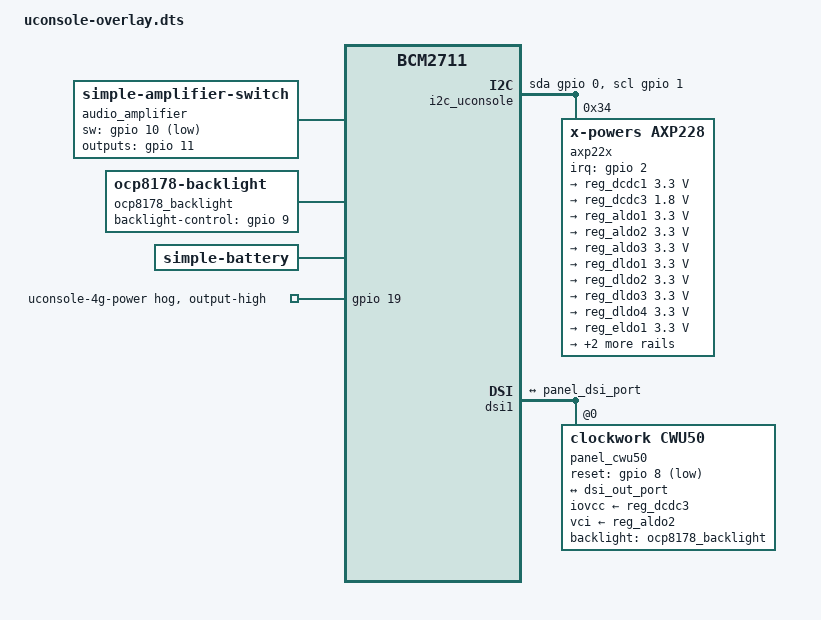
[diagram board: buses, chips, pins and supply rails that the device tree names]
/dts-v1/;
/plugin/;

#include <dt-bindings/gpio/gpio.h>

/* uConsole All In One */

/ {
	compatible = "brcm,bcm2711";

	fragment@70 {
		target-path = "/aliases";
		__overlay__ {
			i2c_uconsole = "/i2c@0";
		};
	};

	fragment@71 {
		target-path = "/__symbols__";
		__overlay__ {
			i2c_uconsole = "/i2c@0";
		};
	};

	fragment@80 {
		target-path = "/chosen";
		__overlay__ {
			/* The bluetooth module need uart0/serial0, so must ensure console doesn't take up the serial port.
			 * Somehow newer kernel uses serial as the default console, which must be avoided.
			   Set console=tty1 ensures everything go to the DSI screen(or maybe HDMI). */
			bootargs = "snd_bcm2835.enable_headphones=1 console=tty1";
			/* 8250 auxiliary UART instead of pl011, which is used by Bluetooth */
			stdout-path = "serial1:115200n8";
		};
	};

	fragment@90 {
        target-path = "/";
		__overlay__ {
			/* No wifi-pwrseq here: on the CM4 the onboard radio hangs off
			 * &mmcnr (GPIO34-39) and the GPU firmware drives WL_ON
			 * (expgpio 1); the vendor cm4 dts deliberately deletes the
			 * pwrseq node. The CM3-era node that used to live here
			 * (reset-gpios = <&gpio 3>) sent pwrseq_simple into an
			 * endless deferred probe and blocked SDIO enumeration. */

			audio_amplifier: audio-amplifier {
				compatible = "simple-amplifier-switch";
				sw-gpios = <&gpio 10 1>; /* GPIO10, GPIO_ACTIVE_LOW */
				outputs-gpios = <&gpio 11 0>; /* GPIO11, GPIO_ACTIVE_HIGH */
				// vdd-supply = <&uc_reg_5v0>;
			};

			ocp8178_backlight: backlight@0 {
				compatible = "ocp8178-backlight";
				backlight-control-gpios = <&gpio 9 0>; /* GPIO9 ACTIVE HIGH */
				default-brightness = <5>;
				// vdd-supply = <&uc_reg_5v0>;
			};

			battery: battery@0 {
				compatible = "simple-battery";
				constant-charge-current-max-microamp = <2100000>;
				voltage-min-design-microvolt = <3300000>;
				voltage-max-design-microvolt = <4200000>;
			};

			i2c_uconsole: i2c@0 {
				reg = <3>;
				compatible = "i2c-gpio";
				gpios = <&gpio 0 (GPIO_ACTIVE_HIGH|GPIO_OPEN_DRAIN) /* sda */
					 &gpio 1 (GPIO_ACTIVE_HIGH|GPIO_OPEN_DRAIN) /* scl */
					>;
				i2c-gpio,delay-us = <2>;        /* ~100 kHz */
				#address-cells = <1>;
				#size-cells = <0>;
			};

			/* TPS61178, the supply for 5V bus, including USB, backlight
			 */
			// uc_reg_5v0: uc-reg-5v0 {
			// 	compatible = "fixed-regulator";
			// 	regulator-name = "sys-5v0";
			// 	regulator-boot-on;
			// 	regulator-always-on; /* cannot be turned off anyway */
			// 	vin-supply = <&usb_power_supply>;
			// };
		};
	};

	/* No BT/WLAN fragments (old fragment@91..95) on the CM4:
	 * - BT lives on uart0 (GPIO30-33) with BT_ON on expgpio 0, wired up by
	 *   the vendor bcm271x-rpi-bt.dtsi + bcm2711-rpi-cm4.dts. The CM3-era
	 *   bt node that used to be here (GPIO5/6/7) broke hci0 reset (-110).
	 * - WiFi is on &mmcnr (fe300000, GPIO34-39); the old fragment@94
	 *   enabled &mmc on the same MMIO with GPIO22-27 (CM3 mainboard radio
	 *   wiring), which is pure conflict on a CM4.
	 * - The old fragment@93 disabled &mmcnr entirely.
	 * The trailing sdio_gpio22/uart0_pins/bt_pins/wifi_rst_pin pin nodes
	 * were dropped for the same reason (they also collided with the
	 * vendor's own uart0_pins/bt_pins, repointing BT at GPIO14-17). */

	__overrides__ {
		cm4 = <0>,"-91-92-93"; // disable BT, WiFi on uConsole main board, and other fixes for CM3
	};
};

/* Trailing sdio_gpio22/uart0_pins/bt_pins/wifi_rst_pin nodes removed: they
 * only served the deleted CM3-era BT/WLAN fragments, and the uart0_pins /
 * bt_pins labels collide with the vendor's own nodes under &gpio (silently
 * repointing the CM4's BT uart at GPIO14-17 instead of GPIO30-33). */

/* The vendor dtb ships bt_pins as an empty placeholder that the RPi
 * firmware's krnbt overlay normally fills with the board-specific CTS/RTS
 * wiring. That firmware fixup never happens in our boot flow, so uart0's
 * pinctrl-0 = <&uart0_pins &bt_pins> stays half-invalid
 * ("there is not valid maps for state default"), the PL011 never muxes its
 * pins, and the BCM43455 stays silent (hci0 reset -110, BD 00:00:00).
 * Fill it ourselves with the CM4 wiring, mirroring the vendor's own
 * uart0-ctsrts-gpio30 node: CTS=GPIO30 alt3 pull-up, RTS=GPIO31 alt3. */
&bt_pins {
	brcm,pins = <30 31>;
	brcm,function = <7>; /* alt3 */
	brcm,pull = <2 0>;   /* CTS pull-up, RTS none */
};

/* 4G extension power-enable (BCM19, wPi24 in clockwork's uconsole-4g-cm4
 * script) must stay driven for as long as the modem is on. A userspace
 * gpioset holder gets killed when its oneshot service finishes (cgroup
 * kill), dropping the line — so hold it in the kernel as a gpio-hog.
 * The power-key pulse (BCM14) stays in the uconsole-4g-enable service. */
&gpio {
	uconsole_4g_power {
		gpio-hog;
		gpios = <19 GPIO_ACTIVE_HIGH>;
		output-high;
		line-name = "uconsole-4g-power";
	};
};

&leds {
	/delete-node/ led-act;

	/* This is the green LED under the power button,
	 * However this is not usable without a hardware modification(move R117 to R116)
	 */
	// act_led: led-act {
	//	linux,default-trigger = "default-on";
	// 	gpios = <&axp_gpio 0 1>; /* gpio0 on pmu, low active */
	// 	// function = "activity";
	// };

	/* This is the orange charging LED under the power button.
	 * Requires a patch to the pinctrl-axp209 driver, because
	 * charge led is not a gpio thus not supported.
	 */
	// chg_led: led-chg {
	// 	linux,default-trigger = "axp20x-battery-charging-blink-full-solid";
	// 	gpios = <&axp_gpio 99 1>; /* CHGLED on pmu, low active */
	// };
};

/* PMU */
&i2c_uconsole {

	axp22x: pmic@34 {
		interrupt-controller;
		#interrupt-cells = <1>;
		compatible = "x-powers,axp228", "x-powers,axp223", "x-powers,axp221";
		reg = <0x34>; /* i2c address */
		interrupt-parent = <&gpio>;
		interrupts = <2 8>;  /* IRQ_TYPE_LEVEL_LOW */
		irq-gpios = <&gpio 2 0>;

		/* TODO: figure out the initial output states */
		regulators {

			x-powers,dcdc-freq = <3000>;

			reg_dcdc1: dcdc1 {
				regulator-name = "sys-3v3";
				regulator-always-on;
				regulator-min-microvolt = <3300000>;
				regulator-max-microvolt = <3300000>;
			};

			reg_dcdc3: dcdc3 {
				regulator-name = "sys-1v8";
				regulator-always-on;
				regulator-min-microvolt = <1800000>;
				regulator-max-microvolt = <1800000>;
			};

			/* TODO: switch this on demand? */
			reg_aldo1: aldo1 {
				regulator-name = "aud-3v3";
				regulator-always-on;
				regulator-min-microvolt = <3300000>;
				regulator-max-microvolt = <3300000>;
			};

			reg_aldo2: aldo2 {
				regulator-name = "disp-3v3";
				regulator-min-microvolt = <3300000>;
				regulator-max-microvolt = <3300000>;
			};

			/* This pull up is required to make BT stable.
			 * This pull up must set to 3.3v when voltage jumpers are not changed,
			 * or the chip will not show up.
			 * It may originate from CM3 IO refs input voltages.
			 */
			reg_aldo3: aldo3 {
				regulator-name = "vdd-wifi";
				regulator-always-on;
				regulator-min-microvolt = <3300000>;
				regulator-max-microvolt = <3300000>;
			};

			/* DLDO1 and ELDO1-3 are connected in parallel. */
			/* So I think they should be left on */
			reg_dldo1: dldo1 {
				regulator-name = "vbat-wifi-a";
				regulator-always-on;
				regulator-min-microvolt = <3300000>;
				regulator-max-microvolt = <3300000>;
			};

			/* DLDO2-DLDO4 are connected in parallel.
			 * They seem not necessary, BUT they are connected to the TPS2553's enable pin!
			 * Disable them will shutdown the USB 5V line.
			 */
			reg_dldo2: dldo2 {
				regulator-name = "vcc-3v3-ext-a";
				regulator-always-on;
				regulator-min-microvolt = <3300000>;
				regulator-max-microvolt = <3300000>;
			};

			reg_dldo3: dldo3 {
				regulator-name = "vcc-3v3-ext-b";
				regulator-always-on;
				regulator-min-microvolt = <3300000>;
				regulator-max-microvolt = <3300000>;
			};

			reg_dldo4: dldo4 {
				regulator-name = "vcc-3v3-ext-c";
				regulator-always-on;
				regulator-min-microvolt = <3300000>;
				regulator-max-microvolt = <3300000>;
			};

			reg_eldo1: eldo1 {
				regulator-name = "vbat-wifi-b";
				regulator-always-on;
				regulator-min-microvolt = <3300000>;
				regulator-max-microvolt = <3300000>;
			};

			reg_eldo2: eldo2 {
				regulator-name = "vbat-wifi-c";
				regulator-always-on;
				regulator-min-microvolt = <3300000>;
				regulator-max-microvolt = <3300000>;
			};

			reg_eldo3: eldo3 {
				regulator-name = "vbat-wifi-d";
				regulator-always-on;
				regulator-min-microvolt = <3300000>;
				regulator-max-microvolt = <3300000>;
			};
		};

		battery_power_supply: battery-power-supply {
			compatible = "x-powers,axp221-battery-power-supply";
			monitored-battery = <&battery>;
		};

		ac_power_supply: ac_power_supply {
			compatible = "x-powers,axp221-ac-power-supply";
		};

		axp_adc: adc {
			compatible = "x-powers,axp221-adc";
			#io-channel-cells = <1>;
		};

		axp_gpio: gpio {
			compatible = "x-powers,axp221-gpio";
			gpio-controller;
			#gpio-cells = <2>;
			status = "disabled";

			gpio0_out: gpio0-out-pin {
				pins = "GPIO0";
				function = "gpio_out";
			};
		};

		/* IPSOUT, feed to on-board buck to get 5V output */
		/* TODO: figure out how to configure it properly */
		usb_power_supply: usb-power {
			compatible = "x-powers,axp221-usb-power-supply";
		};
	};
};

&dsi1 {
	#address-cells = <1>;
	#size-cells = <0>;
	status = "okay";

	port {
		dsi_out_port: endpoint {
			remote-endpoint = <&panel_dsi_port>;
		};
	};

	panel_cwu50: panel@0 {
		compatible = "clockwork,cwu50";
		reg = <0>;
		reset-gpio = <&gpio 8 1>; /* GPIO8 ACTIVE LOW */
		backlight = <&ocp8178_backlight>;
		rotation = <90>;
		iovcc-supply = <&reg_dcdc3>;
		vci-supply = <&reg_aldo2>;

		port {
			panel_dsi_port: endpoint {
				remote-endpoint = <&dsi_out_port>;
			};
		};
	};
};
